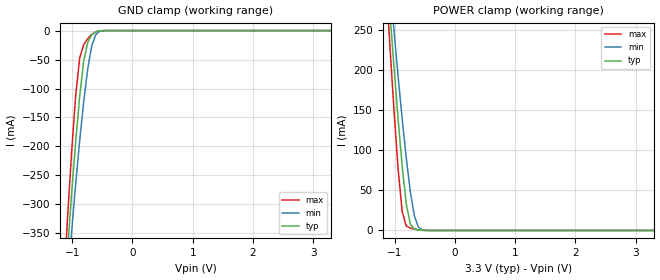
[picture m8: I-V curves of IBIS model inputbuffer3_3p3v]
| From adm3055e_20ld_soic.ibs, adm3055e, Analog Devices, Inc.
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|   Model: inputbuffer3_3p3v
[Model]   inputbuffer3_3p3v
Model_type Input
Vinl=1.155
Vinh=2.145
|   variable   typ   min   max
C_comp   2.621894e-12 2.387276e-12  2.992814e-12
[Temperature Range]   25   105   -40
[Voltage Range]   3.3   3   3.6
[Power Clamp Reference] 3.3   3   3.6
[GND Clamp Reference]   0   0   0
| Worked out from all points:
|   GND clamp passes 1 mA (typ) near -0.56 V on its own axis
|   POWER clamp passes 1 mA (typ) near -0.62 V on its own axis
[Power_clamp]
| Voltage   I(typ)   I(min)   I(max)
-3.3V     3.078A     2.669A     3.57A
-1.145V   340.5mA    369mA      311.6mA
-1.078V   269.8mA    307.3mA    227.8mA
-1.01V    202.2mA    248.2mA    148.2mA
-942.9mV  138.3mA    191.9mA    76.23mA
-875.5mV  80.1mA     139.1mA    23.45mA
-808.2mV  33.22mA    90.48mA    5.435mA
-740.8mV  7.963mA    48.52mA    3.054mA
-673.5mV  1.883mA    18.19mA    1.787mA
-606.1mV  684.6uA    4.168mA    815.8uA
-538.8mV  223.7uA    748.6uA    242.6uA
3.3V      -57.54pA   -1.03uA    -38.34pA
[GND_clamp]
| Voltage   I(typ)   I(min)   I(max)
-3.3V     -4.65A     -4.003A    -5.476A
-1.145V   -484.8mA   -530.4mA   -444.7mA
-1.078V   -379.8mA   -436.9mA   -323.4mA
-1.01V    -282.1mA   -348.2mA   -210.9mA
-942.9mV  -192.5mA   -265.5mA   -112.6mA
-875.5mV  -113.3mA   -189.7mA   -46.92mA
-808.2mV  -52.2mA    -121.9mA   -24.34mA
-740.8mV  -19.8mA    -65.04mA   -13.64mA
-673.5mV  -6.926mA   -25.17mA   -6.399mA
-606.1mV  -2.058mA   -6.645mA   -2.151mA
-404.1mV  -4.9uA     -24.32uA   -2.109uA
3.3V      93.15pA    1.216uA    84.93pA
